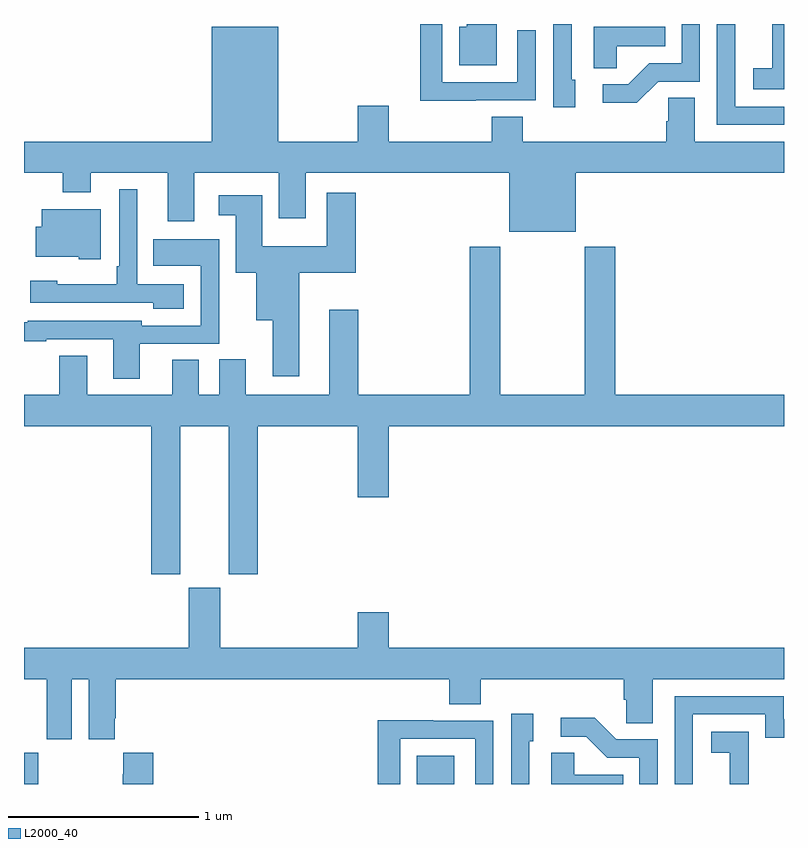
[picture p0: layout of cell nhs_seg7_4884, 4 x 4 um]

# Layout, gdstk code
import gdstk
lib = gdstk.Library(unit=1e-6, precision=1e-09)
def R(c, l, rs):  # rectangles x0, y0, x1, y1
    for r in rs: c.add(gdstk.rectangle(r[:2], r[2:], *l))
def P(c, l, *ps):  # polygons
    for p in ps: c.add(gdstk.Polygon(p, *l))
L2000_40 = (2000, 40)

nhs_seg7_4884 = lib.new_cell('nhs_seg7_4884')
R(nhs_seg7_4884, L2000_40, [(415,1064,415.074,1064.164), (417.068,1064,417.265,1064.149)])
P(nhs_seg7_4884, L2000_40, [(417.377,1067.598),(417.693,1067.598),(417.693,1067.968),(417.597,1067.968),(417.597,1067.694),(417.201,1067.694),(417.201,1068),(417.085,1068),(417.085,1067.597),(417.377,1067.597)],
  [(417.487,1068),(417.329,1068),(417.329,1067.986),(417.29,1067.986),(417.29,1067.783),(417.487,1067.783)],
  [(418.338,1067.697),(418.557,1067.697),(418.557,1068),(418.461,1068),(418.461,1067.793),(418.292,1067.793),(418.181,1067.682),(418.047,1067.682),(418.047,1067.585),(418.225,1067.585)],
  [(419,1067.565),(418.743,1067.565),(418.743,1068),(418.647,1068),(418.647,1067.469),(419,1067.469)],
  [(417.901,1067.706),(417.882,1067.706),(417.882,1068),(417.786,1068),(417.786,1067.562),(417.901,1067.562)],
  [(419,1068),(418.938,1068),(418.938,1067.996),(418.937,1067.996),(418.937,1067.767),(418.839,1067.767),(418.839,1067.657),(419,1067.657)],
  [(418.119,1067.882),(418.376,1067.882),(418.376,1067.986),(417.998,1067.986),(417.998,1067.767),(418.119,1067.767)],
  [(417.904,1067.216),(419,1067.216),(419,1067.38),(418.531,1067.38),(418.531,1067.612),(418.392,1067.612),(418.392,1067.489),(418.379,1067.489),(418.379,1067.38),(417.626,1067.38),(417.626,1067.513),(417.461,1067.513),(417.461,1067.38),(416.92,1067.38),(416.92,1067.569),(416.756,1067.569),(416.756,1067.38),(416.338,1067.38),(416.338,1067.986),(415.988,1067.986),(415.988,1067.38),(415,1067.38),(415,1067.216),(415.204,1067.216),(415.204,1067.114),(415.351,1067.114),(415.351,1067.216),(415.757,1067.216),(415.757,1066.962),(415.897,1066.962),(415.897,1067.216),(416.342,1067.216),(416.342,1066.977),(416.482,1066.977),(416.482,1067.216),(417.554,1067.216),(417.554,1066.907),(417.904,1066.907)],
  [(415.84,1066.629),(415.596,1066.629),(415.596,1067.131),(415.5,1067.131),(415.5,1066.726),(415.488,1066.726),(415.488,1066.63),(415.176,1066.63),(415.176,1066.648),(415.032,1066.648),(415.032,1066.533),(415.679,1066.533),(415.679,1066.502),(415.84,1066.502)],
  [(416.449,1066.691),(416.747,1066.691),(416.747,1067.113),(416.594,1067.113),(416.594,1066.831),(416.254,1066.831),(416.254,1067.098),(416.025,1067.098),(416.025,1066.994),(416.114,1066.994),(416.114,1066.691),(416.222,1066.691),(416.222,1066.442),(416.309,1066.442),(416.309,1066.146),(416.449,1066.146)],
  [(415.405,1067.026),(415.094,1067.026),(415.094,1066.933),(415.061,1066.933),(415.061,1066.775),(415.287,1066.775),(415.287,1066.763),(415.405,1066.763)],
  [(415.609,1066.317),(416.027,1066.317),(416.027,1066.867),(415.681,1066.867),(415.681,1066.727),(415.929,1066.727),(415.929,1066.413),(415.62,1066.413),(415.62,1066.437),(415.02,1066.437),(415.02,1066.431),(415,1066.431),(415,1066.33),(415.116,1066.33),(415.116,1066.341),(415.469,1066.341),(415.469,1066.133),(415.609,1066.133)],
  [(415.822,1065.884),(416.078,1065.884),(416.078,1065.105),(416.231,1065.105),(416.231,1065.884),(416.756,1065.884),(416.756,1065.51),(416.92,1065.51),(416.92,1065.884),(419,1065.884),(419,1066.048),(418.112,1066.048),(418.112,1066.828),(417.952,1066.828),(417.952,1066.048),(417.507,1066.048),(417.507,1066.828),(417.347,1066.828),(417.347,1066.048),(416.759,1066.048),(416.759,1066.495),(416.606,1066.495),(416.606,1066.048),(416.167,1066.048),(416.167,1066.236),(416.028,1066.236),(416.028,1066.048),(415.921,1066.048),(415.921,1066.232),(415.781,1066.232),(415.781,1066.048),(415.333,1066.048),(415.333,1066.255),(415.186,1066.255),(415.186,1066.048),(415,1066.048),(415,1065.884),(415.67,1065.884),(415.67,1065.105),(415.822,1065.105)],
  [(415.252,1064.552),(415.34,1064.552),(415.34,1064.235),(415.477,1064.235),(415.477,1064.347),(415.484,1064.347),(415.484,1064.552),(417.239,1064.552),(417.239,1064.419),(417.404,1064.419),(417.404,1064.552),(418.157,1064.552),(418.157,1064.443),(418.17,1064.443),(418.17,1064.32),(418.309,1064.32),(418.309,1064.552),(419,1064.552),(419,1064.716),(416.92,1064.716),(416.92,1064.905),(416.756,1064.905),(416.756,1064.716),(416.032,1064.716),(416.032,1065.033),(415.868,1065.033),(415.868,1064.716),(415,1064.716),(415,1064.552),(415.121,1064.552),(415.121,1064.235),(415.252,1064.235)],
  [(418.521,1064.367),(418.902,1064.367),(418.902,1064.244),(419,1064.244),(419,1064.34),(418.999,1064.34),(418.999,1064.463),(418.425,1064.463),(418.425,1064),(418.521,1064)],
  [(417.66,1064.226),(417.679,1064.226),(417.679,1064.371),(417.564,1064.371),(417.564,1064),(417.66,1064)],
  [(418.335,1064.235),(418.116,1064.235),(418.003,1064.348),(417.825,1064.348),(417.825,1064.25),(417.959,1064.25),(418.07,1064.139),(418.239,1064.139),(418.239,1064),(418.335,1064)],
  [(416.979,1064.238),(417.375,1064.238),(417.375,1064),(417.471,1064),(417.471,1064.334),(417.155,1064.334),(417.155,1064.336),(416.863,1064.336),(416.863,1064),(416.979,1064)],
  [(418.814,1064.069),(418.815,1064.069),(418.815,1064.275),(418.617,1064.275),(418.617,1064.165),(418.715,1064.165),(418.715,1064),(418.814,1064)],
  [(418.154,1064.05),(417.897,1064.05),(417.897,1064.165),(417.776,1064.165),(417.776,1064),(418.154,1064)],
  [(415.679,1064.164),(415.523,1064.164),(415.523,1064.051),(415.519,1064.051),(415.519,1064),(415.679,1064)])

lib.write_gds('nhs_seg7_4884.gds')
